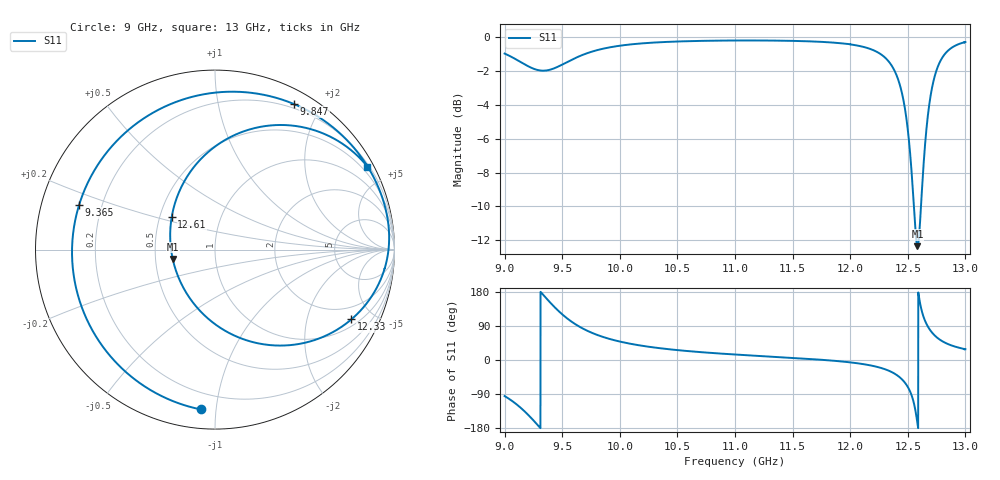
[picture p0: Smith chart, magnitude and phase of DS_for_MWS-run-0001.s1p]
! TOUCHSTONE file generated by CST DESIGN STUDIO
! Date and time: Tue Feb  4 18:43:46 2025
! Project name: C:\Work\MatlabApps\UnitCellOptimizationMatlab\CST\unitcell.cst
! Tree item: Tasks\Sweep1\SPara1\S-Parameters
! Header version: 2024
! Port assignment regex: !\s*Touchstone port\s*([0-9]+)\s*=\s*(CST MWS port|CST DES external port|CST DES block port)\s*(.+)\s* \(\"(.*)\"\)(\s*mode\s*([0-9]+))?.*
! Touchstone port assignment:
! Touchstone port 1 = CST DES external port 1 ("")
# GHz S MA R 50
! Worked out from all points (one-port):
!   4001 points, 9 GHz to 13 GHz, reference 50 ohm
!   lowest |S11| = -12.3 dB at 12.58 GHz (marker M1), VSWR 1.64, Z = 30.8 - j3.44 ohm
!   |S11| at or under -10 dB: 12.55277 GHz to 12.61453 GHz (61.76 MHz wide, 0.491 % of centre)
!   S11 on the Smith chart (normalised r, x): 9 GHz: 0.10, -0.91; 9.365 GHz: 0.12, +0.16; 9.847 GHz: 0.15, +1.67; 12.33 GHz: 1.30, -3.72; 12.61 GHz: 0.58, +0.23; 13 GHz: 0.28, +3.92
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9  0.8939 -95.1
9.087  0.8637 -113.0
9.167  0.8333 -133.7
9.272  0.8018 -166.6
9.365  0.797 161.7
9.435  0.8097 139.1
9.5  0.8292 120.5
9.566  0.8515 104.5
9.64  0.8751 89.6
9.847  0.9226 61.5
10  0.9428 48.7
10.216  0.9592 36.5
10.5  0.9702 26.1
11  0.9769 14.5
11.5  0.9743 5.6
12  0.9519 -6.2
12.198  0.9156 -15.6
12.326  0.8534 -27.1
12.42  0.7429 -43.2
12.5  0.5328 -71.1
12.541  0.3651 -100.4
12.584  0.2413 -167.4
12.611  0.3018 143.1
12.666  0.5528 92.9
12.724  0.7439 67.7
12.778  0.8434 53.7
12.838  0.904 43.5
13  0.9665 28.5
